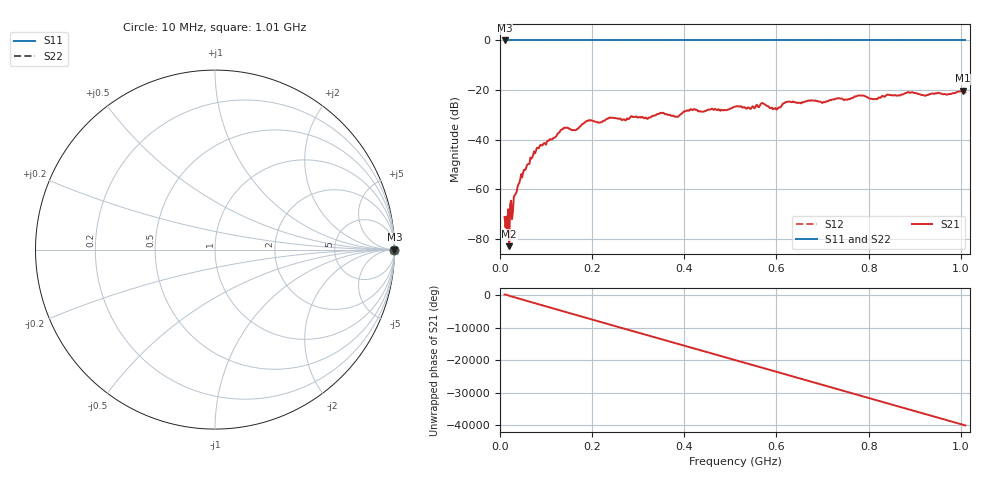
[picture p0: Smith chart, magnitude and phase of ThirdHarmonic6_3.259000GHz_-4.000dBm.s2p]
! 8/17/2025 10:03:01 AM
! C:\ANRITSUVNA\TEMP\TEMP.S2P
! CHANNEL.1
! TR.MEASUREMENT
! RAW.DATA
! RF.CORRECTION.OFF
! AVERAGING.OFF
! IF.BANDWIDTH: 5KHZ
! SWEEPTYPE:  FREQ.SWEEP(Linear)
! Reference Plane Port Info
! PORT:  PORT1  PORT2
! DISTANCE:  0  m  0  m
! TIME:  0  s  0  s
! PHASE.OFFSET:  0  deg.  0  deg.
! LOSS:  0  dB  0  dB
! REF.LOSS:  0  dB  0  dB
! REF.FREQ:  0  Hz  0  Hz
! Power Info
! POWER:  -20  dBm  -20  dBm
! EFF.POWER:  -20  dBm  -20  dBm
! SOURCE.ATTEN:  0  dB  0  dB
! TEST.ATTEN:  0  dB  0  dB
# GHZ S RI R 50.0
! FREQ.GHZ  S11RE  S11IM  S21RE  S21IM  S12RE  S12IM  S22RE  S22IM
!; PortSelection: Port_12
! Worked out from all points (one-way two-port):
!   501 points, 10 MHz to 1.01 GHz, reference 50 ohm
!   highest |S21| = -20.26 dB at 1.004 GHz (marker M1); lowest = -82.8 dB at 20 MHz (marker M2)
!   lowest |S11| = 0.0 dB at 10 MHz (marker M3)
!   |S11| at or under -10 dB: nowhere
!   |S22| runs from 0.0 to 0.0 dB; largest |S21 - S12| = 1.1
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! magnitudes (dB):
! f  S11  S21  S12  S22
! 10 MHz  0.0  -71.1  0.0  0.0
! 16 MHz  0.0  -76.3  0.0  0.0
! 20 MHz  0.0  -82.8  0.0  0.0
! 24 MHz  0.0  -64.5  0.0  0.0
! 26 MHz  0.0  -72.0  0.0  0.0
! 42 MHz  0.0  -57.3  0.0  0.0
! 78 MHz  0.0  -44.6  0.0  0.0
! 136 MHz  0.0  -35.8  0.0  0.0
! 162 MHz  0.0  -36.2  0.0  0.0
! 178 MHz  0.0  -33.8  0.0  0.0
! 344 MHz  0.0  -29.6  0.0  0.0
! 384 MHz  0.0  -30.7  0.0  0.0
! 418 MHz  0.0  -28.0  0.0  0.0
! 510 MHz  0.0  -26.7  0.0  0.0
! 570 MHz  0.0  -25.3  0.0  0.0
! 598 MHz  0.0  -27.3  0.0  0.0
! 624 MHz  0.0  -24.7  0.0  0.0
! 678 MHz  0.0  -24.2  0.0  0.0
! 814 MHz  0.0  -23.5  0.0  0.0
! 844 MHz  0.0  -21.9  0.0  0.0
! 1.004 GHz  0.0  -20.3  0.0  0.0
! 1.01 GHz  0.0  -20.9  0.0  0.0
